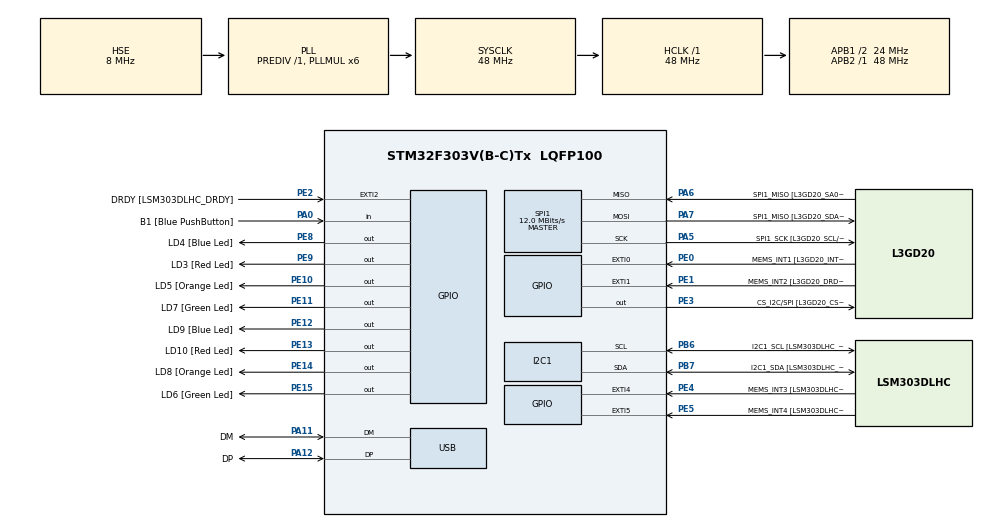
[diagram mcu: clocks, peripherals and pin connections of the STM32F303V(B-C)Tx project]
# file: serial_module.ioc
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I2C1.Timing-I2C=0x2000090E
Mcu.Family=STM32F3
Mcu.Name=STM32F303V(B-C)Tx
Mcu.Package=LQFP100
NVIC.PriorityGroup=NVIC_PRIORITYGROUP_0
PA0.GPIO_Label=B1 [Blue PushButton]
PA0.Signal=GPIO_Input
PA11.GPIO_Label=DM
PA11.Mode=Device
PA11.Signal=USB_DM
PA12.GPIO_Label=DP
PA12.Mode=Device
PA12.Signal=USB_DP
PA13.GPIO_Label=SWDIO
PA13.Mode=Serial_Wire
PA13.Signal=SYS_JTMS-SWDIO
PA14.GPIO_Label=SWCLK
PA14.Mode=Serial_Wire
PA14.Signal=SYS_JTCK-SWCLK
PA5.GPIO_Label=SPI1_SCK [L3GD20_SCL/SPC]
PA5.Mode=Full_Duplex_Master
PA5.Signal=SPI1_SCK
PA6.GPIO_Label=SPI1_MISO [L3GD20_SA0/SDO]
PA6.Mode=Full_Duplex_Master
PA6.Signal=SPI1_MISO
PA7.GPIO_Label=SPI1_MISO [L3GD20_SDA/SDI/SDO]
PA7.Mode=Full_Duplex_Master
PA7.Signal=SPI1_MOSI
PB3.GPIO_Label=SWO
PB3.Signal=SYS_JTDO-TRACESWO
PB6.GPIO_Label=I2C1_SCL [LSM303DLHC_SCL]
PB6.GPIO_Pu=GPIO_PULLUP
PB6.Mode=I2C
PB6.Signal=I2C1_SCL
PB7.GPIO_Label=I2C1_SDA [LSM303DLHC_SDA]
PB7.GPIO_Pu=GPIO_PULLUP
PB7.Mode=I2C
PB7.Signal=I2C1_SDA
PC14-OSC32_IN.GPIO_Label=OSC32_IN
PC14-OSC32_IN.Signal=RCC_OSC32_IN
PC15-OSC32_OUT.GPIO_Label=OSC32_OUT
PC15-OSC32_OUT.Signal=RCC_OSC32_OUT
PE0.GPIO_Label=MEMS_INT1 [L3GD20_INT1]
PE0.GPIO_ModeDefaultEXTI=GPIO_MODE_EVT_RISING
PE0.Signal=GPXTI0
PE1.GPIO_Label=MEMS_INT2 [L3GD20_DRDY/INT2]
PE1.GPIO_ModeDefaultEXTI=GPIO_MODE_EVT_RISING
PE1.Signal=GPXTI1
PE10.GPIO_Label=LD5 [Orange Led]
PE10.Signal=GPIO_Output
PE11.GPIO_Label=LD7 [Green Led]
PE11.Signal=GPIO_Output
PE12.GPIO_Label=LD9 [Blue Led]
PE12.Signal=GPIO_Output
PE13.GPIO_Label=LD10 [Red Led]
PE13.Signal=GPIO_Output
PE14.GPIO_Label=LD8 [Orange Led]
PE14.Signal=GPIO_Output
PE15.GPIO_Label=LD6 [Green Led]
PE15.Signal=GPIO_Output
PE2.GPIO_Label=DRDY [LSM303DLHC_DRDY]
PE2.GPIO_ModeDefaultEXTI=GPIO_MODE_EVT_RISING
PE2.Signal=GPXTI2
PE3.GPIO_Label=CS_I2C/SPI [L3GD20_CS_I2C/SPI]
PE3.Signal=GPIO_Output
PE4.GPIO_Label=MEMS_INT3 [LSM303DLHC_INT1]
PE4.GPIO_ModeDefaultEXTI=GPIO_MODE_EVT_RISING
PE4.Signal=GPXTI4
PE5.GPIO_Label=MEMS_INT4 [LSM303DLHC_INT2]
PE5.GPIO_ModeDefaultEXTI=GPIO_MODE_EVT_RISING
PE5.Signal=GPXTI5
PE8.GPIO_Label=LD4 [Blue Led]
PE8.Signal=GPIO_Output
PE9.GPIO_Label=LD3 [Red Led]
PE9.Signal=GPIO_Output
PF0-OSC_IN.GPIO_Label=OSC_IN
PF0-OSC_IN.Mode=HSE-External-Clock-Source
PF0-OSC_IN.Signal=RCC_OSC_IN
PF1-OSC_OUT.GPIO_Label=OSC_OUT
PF1-OSC_OUT.Signal=RCC_OSC_OUT
ProjectManager.HeapSize=0x200
ProjectManager.StackSize=0x400
ProjectManager.TargetToolchain=STM32CubeIDE
RCC.AHBFreq_Value=48000000
RCC.APB1CLKDivider=RCC_HCLK_DIV2
RCC.APB1Freq_Value=24000000
RCC.APB1TimFreq_Value=48000000
RCC.APB2Freq_Value=48000000
RCC.APB2TimFreq_Value=48000000
RCC.CortexFreq_Value=48000000
RCC.HCLKFreq_Value=48000000
RCC.HSE_VALUE=8000000
RCC.HSI_VALUE=8000000
RCC.LSE_VALUE=32768
RCC.PLLMUL=RCC_PLL_MUL6
RCC.SYSCLKFreq_VALUE=48000000
RCC.SYSCLKSourceVirtual=RCC_SYSCLKSOURCE_PLLCLK
RCC.USBFreq_Value=48000000
SPI1.BaudRatePrescaler=SPI_BAUDRATEPRESCALER_4
SPI1.BaudRatePrescaler-Full_Duplex_Master=SPI_BAUDRATEPRESCALER_2
SPI1.CalculateBaudRate=12.0 MBits/s
SPI1.CalculateBaudRate-Full_Duplex_Master=24.0 MBits/s
SPI1.Direction=SPI_DIRECTION_2LINES
SPI1.Mode=SPI_MODE_MASTER
SPI1.Mode-Full_Duplex_Master=SPI_MODE_MASTER
SPI1.VirtualType=VM_MASTER
board=STM32F3DISCOVERY

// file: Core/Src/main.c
/* USER CODE BEGIN Header */
/**
  ******************************************************************************
  * @file           : main.c
  * @brief          : Main program body
  ******************************************************************************
  * @attention
  *
  * Copyright (c) 2023 STMicroelectronics.
  * All rights reserved.
  *
  * This software is licensed under terms that can be found in the LICENSE file
  * in the root directory of this software component.
  * If no LICENSE file comes with this software, it is provided AS-IS.
  *
  ******************************************************************************
  */
/* USER CODE END Header */
#include "main.h"

/* USER CODE BEGIN Includes */
#include "serial.h"
#include "sequence.h"
#include "stm32f303xc.h"
/* USER CODE END Includes */

I2C_HandleTypeDef hi2c1;

SPI_HandleTypeDef hspi1;

PCD_HandleTypeDef hpcd_USB_FS;

void SystemClock_Config(void);
static void MX_GPIO_Init(void);
static void MX_I2C1_Init(void);
static void MX_SPI1_Init(void);
static void MX_USB_PCD_Init(void);

/* USER CODE BEGIN 0 */
// enable the clocks for desired peripherals (GPIOA, C and E)
void enable_clocks() {
	RCC->AHBENR |= RCC_AHBENR_GPIOAEN | RCC_AHBENR_GPIOCEN | RCC_AHBENR_GPIOEEN;

	// store a 1 in bit for the TIM2 enable flag
	RCC->APB1ENR |= RCC_APB1ENR_TIM3EN;
}

// initialise the discovery board I/O (just outputs: inputs are selected by default)
void initialise_board() {
	// get a pointer to the second half word of the MODER register (for outputs pe8-15)
	uint16_t *led_output_registers = ((uint16_t *)&(GPIOE->MODER)) + 1;
	*led_output_registers = 0x5555;
}

/* USER CODE END 0 */

int main(void)
{

  /* MCU Configuration--------------------------------------------------------*/

  /* Reset of all peripherals, Initializes the Flash interface and the Systick. */
  HAL_Init();

  /* Configure the system clock */
  SystemClock_Config();

  /* Initialize all configured peripherals */
  MX_GPIO_Init();
  MX_I2C1_Init();
  MX_SPI1_Init();
  MX_USB_PCD_Init();

  /* USER CODE BEGIN 2 */
  enable_clocks();
  initialise_board();

  //code for stage 4
  uint8_t buffer[64] = "RUN_PYTHON\r\n";
  SerialInitialise(BAUD_115200, &USART1_PORT);
  SerialOutputString(buffer, &USART1_PORT);

  Stage2();

  /* USER CODE END 2 */

  /* Infinite loop */
  while (1)
  {

  }
}

void SystemClock_Config(void)
{
  RCC_OscInitTypeDef RCC_OscInitStruct = {0};
  RCC_ClkInitTypeDef RCC_ClkInitStruct = {0};
  RCC_PeriphCLKInitTypeDef PeriphClkInit = {0};

  /** Initializes the RCC Oscillators according to the specified parameters
  * in the RCC_OscInitTypeDef structure.
  */
  RCC_OscInitStruct.OscillatorType = RCC_OSCILLATORTYPE_HSI|RCC_OSCILLATORTYPE_HSE;
  RCC_OscInitStruct.HSEState = RCC_HSE_BYPASS;
  RCC_OscInitStruct.HSEPredivValue = RCC_HSE_PREDIV_DIV1;
  RCC_OscInitStruct.HSIState = RCC_HSI_ON;
  RCC_OscInitStruct.HSICalibrationValue = RCC_HSICALIBRATION_DEFAULT;
  RCC_OscInitStruct.PLL.PLLState = RCC_PLL_ON;
  RCC_OscInitStruct.PLL.PLLSource = RCC_PLLSOURCE_HSE;
  RCC_OscInitStruct.PLL.PLLMUL = RCC_PLL_MUL6;
  if (HAL_RCC_OscConfig(&RCC_OscInitStruct) != HAL_OK)
  {
    Error_Handler();
  }

  /** Initializes the CPU, AHB and APB buses clocks
  */
  RCC_ClkInitStruct.ClockType = RCC_CLOCKTYPE_HCLK|RCC_CLOCKTYPE_SYSCLK
                              |RCC_CLOCKTYPE_PCLK1|RCC_CLOCKTYPE_PCLK2;
  RCC_ClkInitStruct.SYSCLKSource = RCC_SYSCLKSOURCE_PLLCLK;
  RCC_ClkInitStruct.AHBCLKDivider = RCC_SYSCLK_DIV1;
  RCC_ClkInitStruct.APB1CLKDivider = RCC_HCLK_DIV2;
  RCC_ClkInitStruct.APB2CLKDivider = RCC_HCLK_DIV1;

  if (HAL_RCC_ClockConfig(&RCC_ClkInitStruct, FLASH_LATENCY_1) != HAL_OK)
  {
    Error_Handler();
  }
  PeriphClkInit.PeriphClockSelection = RCC_PERIPHCLK_USB|RCC_PERIPHCLK_I2C1;
  PeriphClkInit.I2c1ClockSelection = RCC_I2C1CLKSOURCE_HSI;
  PeriphClkInit.USBClockSelection = RCC_USBCLKSOURCE_PLL;
  if (HAL_RCCEx_PeriphCLKConfig(&PeriphClkInit) != HAL_OK)
  {
    Error_Handler();
  }
}

static void MX_I2C1_Init(void)
{

  hi2c1.Instance = I2C1;
  hi2c1.Init.Timing = 0x2000090E;
  hi2c1.Init.OwnAddress1 = 0;
  hi2c1.Init.AddressingMode = I2C_ADDRESSINGMODE_7BIT;
  hi2c1.Init.DualAddressMode = I2C_DUALADDRESS_DISABLE;
  hi2c1.Init.OwnAddress2 = 0;
  hi2c1.Init.OwnAddress2Masks = I2C_OA2_NOMASK;
  hi2c1.Init.GeneralCallMode = I2C_GENERALCALL_DISABLE;
  hi2c1.Init.NoStretchMode = I2C_NOSTRETCH_DISABLE;
  if (HAL_I2C_Init(&hi2c1) != HAL_OK)
  {
    Error_Handler();
  }

  /** Configure Analogue filter
  */
  if (HAL_I2CEx_ConfigAnalogFilter(&hi2c1, I2C_ANALOGFILTER_ENABLE) != HAL_OK)
  {
    Error_Handler();
  }

  /** Configure Digital filter
  */
  if (HAL_I2CEx_ConfigDigitalFilter(&hi2c1, 0) != HAL_OK)
  {
    Error_Handler();
  }

}

static void MX_SPI1_Init(void)
{

  /* SPI1 parameter configuration*/
  hspi1.Instance = SPI1;
  hspi1.Init.Mode = SPI_MODE_MASTER;
  hspi1.Init.Direction = SPI_DIRECTION_2LINES;
  hspi1.Init.DataSize = SPI_DATASIZE_4BIT;
  hspi1.Init.CLKPolarity = SPI_POLARITY_LOW;
  hspi1.Init.CLKPhase = SPI_PHASE_1EDGE;
  hspi1.Init.NSS = SPI_NSS_SOFT;
  hspi1.Init.BaudRatePrescaler = SPI_BAUDRATEPRESCALER_4;
  hspi1.Init.FirstBit = SPI_FIRSTBIT_MSB;
  hspi1.Init.TIMode = SPI_TIMODE_DISABLE;
  hspi1.Init.CRCCalculation = SPI_CRCCALCULATION_DISABLE;
  hspi1.Init.CRCPolynomial = 7;
  hspi1.Init.CRCLength = SPI_CRC_LENGTH_DATASIZE;
  hspi1.Init.NSSPMode = SPI_NSS_PULSE_ENABLE;
  if (HAL_SPI_Init(&hspi1) != HAL_OK)
  {
    Error_Handler();
  }

}

static void MX_USB_PCD_Init(void)
{

  hpcd_USB_FS.Instance = USB;
  hpcd_USB_FS.Init.dev_endpoints = 8;
  hpcd_USB_FS.Init.speed = PCD_SPEED_FULL;
  hpcd_USB_FS.Init.phy_itface = PCD_PHY_EMBEDDED;
  hpcd_USB_FS.Init.low_power_enable = DISABLE;
  hpcd_USB_FS.Init.battery_charging_enable = DISABLE;
  if (HAL_PCD_Init(&hpcd_USB_FS) != HAL_OK)
  {
    Error_Handler();
  }

}

static void MX_GPIO_Init(void)
{
  GPIO_InitTypeDef GPIO_InitStruct = {0};

  /* GPIO Ports Clock Enable */
  __HAL_RCC_GPIOE_CLK_ENABLE();
  __HAL_RCC_GPIOC_CLK_ENABLE();
  __HAL_RCC_GPIOF_CLK_ENABLE();
  __HAL_RCC_GPIOA_CLK_ENABLE();
  __HAL_RCC_GPIOB_CLK_ENABLE();

  /*Configure GPIO pin Output Level */
  HAL_GPIO_WritePin(GPIOE, CS_I2C_SPI_Pin|LD4_Pin|LD3_Pin|LD5_Pin
                          |LD7_Pin|LD9_Pin|LD10_Pin|LD8_Pin
                          |LD6_Pin, GPIO_PIN_RESET);

  /*Configure GPIO pins : DRDY_Pin MEMS_INT3_Pin MEMS_INT4_Pin MEMS_INT1_Pin
                           MEMS_INT2_Pin */
  GPIO_InitStruct.Pin = DRDY_Pin|MEMS_INT3_Pin|MEMS_INT4_Pin|MEMS_INT1_Pin
                          |MEMS_INT2_Pin;
  GPIO_InitStruct.Mode = GPIO_MODE_EVT_RISING;
  GPIO_InitStruct.Pull = GPIO_NOPULL;
  HAL_GPIO_Init(GPIOE, &GPIO_InitStruct);

  /*Configure GPIO pins : CS_I2C_SPI_Pin LD4_Pin LD3_Pin LD5_Pin
                           LD7_Pin LD9_Pin LD10_Pin LD8_Pin
                           LD6_Pin */
  GPIO_InitStruct.Pin = CS_I2C_SPI_Pin|LD4_Pin|LD3_Pin|LD5_Pin
                          |LD7_Pin|LD9_Pin|LD10_Pin|LD8_Pin
                          |LD6_Pin;
  GPIO_InitStruct.Mode = GPIO_MODE_OUTPUT_PP;
  GPIO_InitStruct.Pull = GPIO_NOPULL;
  GPIO_InitStruct.Speed = GPIO_SPEED_FREQ_LOW;
  HAL_GPIO_Init(GPIOE, &GPIO_InitStruct);

  /*Configure GPIO pin : B1_Pin */
  GPIO_InitStruct.Pin = B1_Pin;
  GPIO_InitStruct.Mode = GPIO_MODE_INPUT;
  GPIO_InitStruct.Pull = GPIO_NOPULL;
  HAL_GPIO_Init(B1_GPIO_Port, &GPIO_InitStruct);

}

void Error_Handler(void)
{
  __disable_irq();
  while (1)
  {
  }
}
